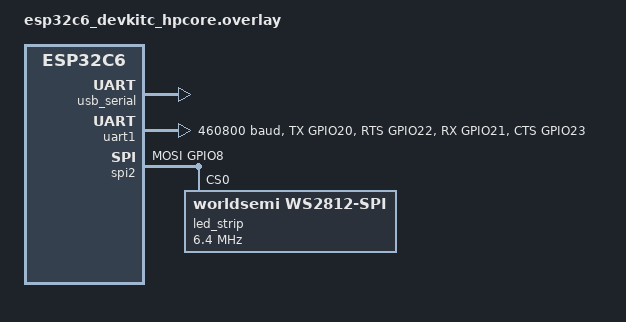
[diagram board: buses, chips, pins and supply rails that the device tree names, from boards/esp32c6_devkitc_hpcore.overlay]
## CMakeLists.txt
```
cmake_minimum_required(VERSION 3.20.0)
# nn-modules location: env (standalone build via nn-app-build) or the
# monorepo sibling (${NN_MODULES_DIR}) fallback so in-tree builds still work.
set(NN_MODULES_DIR "$ENV{NN_MODULES_DIR}")
if(NOT NN_MODULES_DIR)
    set(NN_MODULES_DIR ${CMAKE_CURRENT_SOURCE_DIR}/../../modules)
endif()
find_package(Zephyr REQUIRED HINTS $ENV{ZEPHYR_BASE})
project(ncp_host_esp32c6)

# nn_proto wire-format library (cross-platform, callback-based crypto).
add_subdirectory(${NN_MODULES_DIR}/libs/nn_proto nn_proto_build)

# fw_common — platform-neutral firmware logic (HDLC, Spinel, …) shared
# with the upcoming Linux gateway daemon (host/gw_linux/).
add_subdirectory(${NN_MODULES_DIR}/libs/fw_common fw_common_build)

target_sources(app PRIVATE
    src/main.c
    # hdlc.c + spinel.c moved to modules/libs/fw_common; pulled in via
    # add_subdirectory() above when CONFIG_FW_COMMON=y.
    src/ncp_link.c
    src/ncp_netif.c
    src/nat64.c
    src/border_agent.c
    src/ra_sender.c
    # gw_identity core moved to modules/libs/fw_common/src/gw_identity.c;
    # only the Zephyr shell wrapper stays in the app.
    src/gw_identity_shell.c
    src/proto_tcp.c
    src/proto_udp.c
    src/proto_router.c
    src/gw_commands.c
    # gw_provision + gw_ble_provision moved to modules/libs/fw_common/.
    # Only the Zephyr shell wrapper stays here.
    src/gw_provision_shell.c
    src/gw_ot_apply.c
    src/gw_thread_state.c
    # M6 unified: gateway uses the same hub_crypto X25519 ECIES path
    # as sensors.  hub_crypto.c moved to modules/libs/fw_common/ and is
    # pulled in via the fw_common add_subdirectory() above
    # (CONFIG_FW_COMMON=y in prj.conf).  No direct source reference
    # needed here anymore.
    src/gw_fw_http.c
    src/gw_ota.c
    src/gw_peer_reset.c
    src/ncp_ota_client.c
    src/gw_watchdog.c
)

target_include_directories(app PRIVATE
    src
    ${NN_MODULES_DIR}/libs/node_mgr/include
    ${NN_MODULES_DIR}/libs/fw_common/include
)
```

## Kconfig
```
mainmenu "ESP32-C6 NCP Host"

# Pull in the nn_proto wire-format library + PSA Ed25519/SHA256 selectors.
source "$(NN_MODULES_DIR)/libs/nn_proto/Kconfig"

# fw_common — portable HDLC / Spinel / future shared logic.  Same module
# is consumed by the Linux gateway daemon (host/gw_linux/) via its own
# native CMake build.
source "$(NN_MODULES_DIR)/libs/fw_common/Kconfig"

# M6: PSA selectors for ECIES decrypt of BLE provisioning writes.
# Uses X25519 (Montgomery curve) for encryption.  P-256 (SECP_R1_256)
# stays for nn_proto signatures (deterministic ECDSA — see
# nn_proto/Kconfig).  PSA_WANT_* are invisible at prj.conf level
# (MBEDTLS_PROMPTLESS=y), so they must be selected from Kconfig.
config GW_BLE_CRYPTO_DEPS
	bool
	default y
	select PSA_WANT_ALG_ECDH
	select PSA_WANT_ALG_HKDF
	select PSA_WANT_ALG_GCM
	select PSA_WANT_ALG_SHA_256
	# X25519 (encryption)
	select PSA_WANT_ECC_MONTGOMERY_255
	# P-256 (signatures)
	select PSA_WANT_ECC_SECP_R1_256
	select PSA_WANT_KEY_TYPE_AES
	select PSA_WANT_KEY_TYPE_DERIVE
	select PSA_WANT_KEY_TYPE_ECC_KEY_PAIR_DERIVE
	select PSA_WANT_KEY_TYPE_ECC_KEY_PAIR_IMPORT
	select PSA_WANT_KEY_TYPE_ECC_PUBLIC_KEY

source "Kconfig.zephyr"

config NCP_NETIF_LOG_RX_OFFMESH
	bool "Print every off-mesh STREAM_NET packet entering the host"
	default n
	help
	  Diagnostic.  Logs proto/src-tail/dst-tail/UDP-ports for each
	  off-mesh IPv6 packet arriving from the NCP via Spinel
	  STREAM_NET.  Filters out MLE (port 19788) and anycast (61631)
	  intra-mesh chatter.

config NCP_LINK_LOG_UDP_FORWARD
	bool "Print SPINEL_PROP_THREAD_UDP_FORWARD_STREAM events"
	default n
	help
	  Diagnostic.  Logs both directions of UDP_FORWARD traffic
	  (commissioner path).

config BORDER_AGENT_LOG_RX
	bool "Print every UDP packet arriving on the BA listener (49191)"
	default n
	help
	  Diagnostic.  Used during external commissioner DTLS handshake
	  troubleshooting.

# ── nn_proto TCP broker ─────────────────────────────────────────────────────

menu "nn_proto broker (hub TCP transport)"

config NN_PROTO_HUB_HOSTNAME
	string "Default hub mDNS hostname"
	default "nn-hub.local"

config NN_PROTO_HUB_PORT
	int "Hub TCP port"
	default 8767

config NN_PROTO_HUB_FW_PORT
	int "Hub HTTP port for OTA firmware downloads"
	default 8770

config NN_PROTO_RECONNECT_INITIAL_MS
	int "Initial reconnect backoff (ms)"
	default 2000

config NN_PROTO_RECONNECT_MAX_MS
	int "Maximum reconnect backoff (ms)"
	default 60000

config NN_PROTO_TX_RING_BYTES
	int "Outbound frame ring-buffer size (bytes)"
	default 8192

config NN_PROTO_RX_BUF_BYTES
	int "Inbound frame assembly buffer (bytes)"
	default 4096

config NN_PROTO_WORKER_STACK_SIZE
	int "TCP worker thread stack size"
	default 4096

config NN_PROTO_UDP_PORT
	int "UDP port for D2G/G2D on Thread mesh"
	default 49190

config NN_PROTO_ROUTER_TABLE_SIZE
	int "Routing-table size (device_id → mesh-local IPv6)"
	default 16

config NN_PROTO_HELLO_INTERVAL_S
	int "Gateway HELLO multicast interval (seconds)"
	default 30

endmenu

# ── Bundle pairing ────────────────────────────────────────────────────────

config NN_BUNDLED_NCP_VERSION
	string "Expected NCP firmware version (bundle pairing)"
	default "0.0.0"
	help
	  When non-default, the host's deferred-confirm worker queries
	  the running NCP's CONFIG_NN_NCP_APP_VERSION via Spinel vendor
	  property 0x3C03 and pushes the bundled NCP image (type
	  "ncp_c6", version = this string) if they don't match — BEFORE
	  calling boot_write_img_confirmed on itself.  This makes the
	  host+NCP bundle atomic: if the NCP push fails, the host stays
	  unconfirmed and the next reboot reverts the host too.

	  Default "0.0.0" disables bundle pairing (the host self-confirms
	  on uptime+TCP gates alone, and never auto-pushes to the NCP).

config NN_BUNDLED_NCP_TYPE
	string "Hub firmware target name for the paired NCP image"
	default "ncp_c6"
	help
	  Used as the <device_type> argument to gwota_ncp / the auto
	  reconciliation loop.  Must match what was uploaded via
	  `nn-hub firmware upload <device_type> <version> <file>`.

config NN_BUNDLE_RECONCILE_MAX_ATTEMPTS
	int "Max NCP push attempts during bundle reconciliation"
	default 3
	help
	  After this many consecutive failed pushes, the host stops
	  retrying and stays unconfirmed.  The next reboot will revert
	  the host to slot0, which keeps the bundle consistent with the
	  old NCP.
```

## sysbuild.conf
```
SB_CONFIG_BOOTLOADER_MCUBOOT=y
SB_CONFIG_MCUBOOT_MODE_SWAP_SCRATCH=y
```

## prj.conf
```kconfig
# ESP32-C6 NCP Host — Milestone A
#
# Minimal config: shell on USB-JTAG, UART1 driver for Spinel link to NCP,
# no OpenThread (custom NCP client replaces CONFIG_NET_L2_OPENTHREAD).
# WiFi enable comes in Milestone C.

# Shell / Console
CONFIG_SHELL=y
CONFIG_SHELL_STACK_SIZE=4096
CONFIG_SHELL_PROMPT_UART="ncphost:~$ "
# Shell is kept for SHELL_CMD registration (many code paths use it),
# but the serial backend is disabled so stray bytes from pyserial
# churn can't trigger the shell_start / common_beginning_find crashes
# documented in feedback_zephyr_shell_tab_crash.md.  The host now
# does its bring-up autonomously from main() — no interactive shell
# needed.  Re-enable for development if you need CLI access.
CONFIG_SHELL_BACKEND_SERIAL=y
CONFIG_SHELL_TAB=n
# Long `provision set ...` lines (130-char hub_pubkey hex) overflow the
# default 64-byte RX ring; bump both the ring and the line buffer.
CONFIG_SHELL_BACKEND_SERIAL_RX_RING_BUFFER_SIZE=1024
CONFIG_SHELL_CMD_BUFF_SIZE=512
CONFIG_GPIO=y
CONFIG_SERIAL=y
CONFIG_UART_CONSOLE=y
CONFIG_UART_INTERRUPT_DRIVEN=y
CONFIG_EARLY_CONSOLE=y
CONFIG_LOG=y
CONFIG_LOG_MAX_LEVEL=4
# LOG_MODE_IMMEDIATE blocks the calling thread on UART for every log
# line.  With BLE active, that synchronous write starves the LL of
# CPU and triggers supervision timeout (reason 0x08) during the M6
# ECIES decrypt window.  Deferred mode hands log rendering to a
# dedicated thread so the BT stack stays responsive.
CONFIG_LOG_MODE_DEFERRED=y
CONFIG_LOG_BACKEND_UART=y
CONFIG_PRINTK=y
CONFIG_BOOT_BANNER=y

# RNG for WPA2
CONFIG_TEST_RANDOM_GENERATOR=y
CONFIG_ENTROPY_GENERATOR=y

# Zephyr networking — Thread-over-Spinel iface (DUMMY_L2) and WiFi STA.
CONFIG_NETWORKING=y
CONFIG_NET_IPV6=y
CONFIG_NET_IPV4=y
CONFIG_NET_DHCPV4=y
CONFIG_NET_UDP=y
CONFIG_NET_TCP=y
CONFIG_NET_SOCKETS=y
CONFIG_NET_SOCKETS_INET_RAW=y
CONFIG_NET_ICMPV4_ACCEPT_BROADCAST=y
CONFIG_NET_L2_DUMMY=y
CONFIG_NET_L2_ETHERNET=y
CONFIG_NET_MGMT=y
CONFIG_NET_MGMT_EVENT=y
CONFIG_NET_MGMT_EVENT_INFO=y

# === WiFi (ESP32-C6 built-in, for IPv4 egress + NAT64) ===
CONFIG_WIFI=y
CONFIG_NET_L2_WIFI_SHELL=y
CONFIG_ESP32_WIFI_STA_AUTO_DHCPV4=y
# Driver-level reconnect: when the AP drops us (signal, deauth, lease loss),
# the ESP32 WiFi driver re-issues esp_wifi_connect() in the disconnect path
# instead of going DISCONNECTED-forever.  Without this, our one-shot
# auto_wifi_connect() at boot never re-fires and the gateway is stranded.
CONFIG_ESP32_WIFI_STA_RECONNECT=y
# Bump the umbrella WIFI log level to DEBUG temporarily so disconnect
# reasons (logged via LOG_DBG inside esp_wifi_handle_sta_disconnect_event)
# show up in the boot log.  Useful while diagnosing AP-association
# flakiness; lower to INF once the WiFi stack is stable.
CONFIG_WIFI_LOG_LEVEL_DBG=y
CONFIG_DNS_RESOLVER=y

# mDNS responder — publishes services on wlan0 for laptops to discover.
CONFIG_NET_HOSTNAME_ENABLE=y
CONFIG_NET_HOSTNAME="nn-br"
CONFIG_DNS_SD=y
CONFIG_MDNS_RESPONDER=y
CONFIG_MDNS_RESPONDER_DNS_SD=y
CONFIG_MDNS_RESPONDER_LOG_LEVEL_INF=y
CONFIG_DNS_SD_LOG_LEVEL_INF=y
CONFIG_NET_IPV4_IGMP=y
CONFIG_ZVFS_POLL_MAX=16

# Buffers for STREAM_NET packets (MTU 1280).
# Host is middleman for ALL Thread traffic — bump up vs sensor since
# MLE, data, and NAT64 traffic all flow through ncp_netif_rx_stream_net
# and each needs a net_pkt from the pool.  With 8/8 the pool was
# exhausted during OTA download ("rx drop: pkt alloc failed").
#
# 2026-05-03: TX side bumped 16/32 → 32/64 to keep STREAM_NET sends
# (Thread mesh traffic forwarded to NCP via Spinel) from being starved
# by HTTP TCP ACK/window-update bursts during NCP OTA downloads.
# Symptom of starvation: ncp_ota_relay block timeouts (rv=-116) +
# `esp32_wifi: Failed to allocate net buffer` + STREAM_NET tx drops.
CONFIG_NET_PKT_RX_COUNT=48
CONFIG_NET_PKT_TX_COUNT=48
CONFIG_NET_BUF_RX_COUNT=96
CONFIG_NET_BUF_TX_COUNT=96
CONFIG_NET_BUF_DATA_SIZE=256

# Network shell for `net iface`, `net route`, etc.
CONFIG_NET_SHELL=y
CONFIG_NET_ROUTING=y
CONFIG_NET_IPV6_NBR_CACHE=y
# NET_MAX_ROUTES + NET_MAX_NEXTHOPS removed for UART-silence bisect.
# Both were added in 2026-04-26 BR-routing work; reintroduce later.
CONFIG_NET_MAX_CONTEXTS=32
# Default NET_MAX_CONN=8 is exhausted by mDNS (×4: v4+v6 on wlan0+dummy0)
# + BorderAgent UDP + NAT64 + proto_udp.  Bump it so TCP connect() can
# allocate its conn handler.  Symptom of running out: socket calls fail
# immediately with errno=2 (ENOENT).
CONFIG_NET_MAX_CONN=24

# Room for mirroring multiple NCP IPv6 addresses/prefixes on the Thread iface.
CONFIG_NET_IF_UNICAST_IPV6_ADDR_COUNT=8
CONFIG_NET_IF_MCAST_IPV6_ADDR_COUNT=6
CONFIG_NET_IF_IPV6_PREFIX_COUNT=4
# Need ≥2 IPv6 contexts: one for wlan0, one for the Thread-over-Spinel iface.
# Default 1 leaves the Thread iface with "IPv6 not enabled" and all
# net_if_ipv6_addr_add calls fail.
CONFIG_NET_IF_MAX_IPV6_COUNT=2
CONFIG_NET_IF_MAX_IPV4_COUNT=2

# Stack sizes
CONFIG_MAIN_STACK_SIZE=5200
CONFIG_SYSTEM_WORKQUEUE_STACK_SIZE=4096
CONFIG_NET_TX_STACK_SIZE=2048
CONFIG_NET_RX_STACK_SIZE=2048
CONFIG_NET_MGMT_EVENT_STACK_SIZE=4096
CONFIG_NET_MGMT_EVENT_QUEUE_SIZE=16
CONFIG_NET_MGMT_EVENT_QUEUE_TIMEOUT=5000

# Flash / NVS (WiFi credentials, settings)
CONFIG_FLASH=y
CONFIG_FLASH_MAP=y
CONFIG_NVS=y
CONFIG_SETTINGS=y
CONFIG_SETTINGS_NVS=y

# `provision set ...` ends with sys_reboot() to apply cleanly.
CONFIG_REBOOT=y

# Gateway OTA: MCUboot image manager + stream flash for HTTP downloads.
CONFIG_BOOTLOADER_MCUBOOT=y
CONFIG_IMG_MANAGER=y
CONFIG_STREAM_FLASH=y
CONFIG_STREAM_FLASH_ERASE=y
CONFIG_IMG_BLOCK_BUF_SIZE=1024
CONFIG_MCUBOOT_IMG_MANAGER=y

# Task watchdog: forces a reset if the new image deadlocks long enough
# for MCUboot to revert to slot0.  Heartbeat thread feeds the channel.
# DISABLED — both task_wdt_init(NULL) and task_wdt_init(wdt0) boot-loop
# on this Zephyr+espressif build (chip resets before reaching the
# Zephyr banner), even though the underlying wdt_esp32 driver passes
# samples/drivers/watchdog cleanly.  The bug is in the task_wdt
# framework integration, not the peripheral.  Code in gw_watchdog.c
# is scaffolded with HW-backed init ready (DEVICE_DT_GET(wdt0)) for
# when the framework issue is diagnosed.  Set both =y to enable.
# CONFIG_WATCHDOG=y
# CONFIG_TASK_WDT=y

# === nn_proto gateway identity (Ed25519) ===
# PSA Ed25519 + SHA-256 selectors are pulled in by NN_PROTO_KEYSTORE_DEPS
# (modules/libs/nn_proto/Kconfig).  mbedTLS itself is enabled by other
# parts of the stack already; only the heap size is tuned here.
# M6 ECIES decrypt is heap-hungry (mbedTLS bignum for X25519 ECDH).
# 32 KB has headroom for ECDH + HKDF + AES-GCM.
CONFIG_MBEDTLS_HEAP_SIZE=32768

# hub_crypto serialises ECIES envelopes as JSON with base64 payloads,
# matching the on-device path used by sensors.
CONFIG_BASE64=y
CONFIG_JSON_LIBRARY=y

# Bumped heap for WiFi / wpa_supplicant + M6 ECIES PSA crypto path.
CONFIG_HEAP_MEM_POOL_SIZE=65536

# === BLE (M1 — provisioning bring-up) ===
# Peripheral-only.  Hub-side CLI is the central; the gateway never
# connects out.  Brought up by gw_ble_provision_start() if the gateway
# is not provisioned (first-boot flow).  See plan at
# /home/chalos/.claude/plans/gateway-ble-provisioning.md
CONFIG_BT=y
CONFIG_BT_PERIPHERAL=y
# Needed so the peripheral can call bt_gatt_exchange_mtu() on connect.
# BlueZ central does NOT auto-do ATT MTU exchange — without this the
# ATT MTU stays at the spec default 23, forcing every M6 ECIES write
# (110-170 B) into Write Long which the prepare-buffers fail.
CONFIG_BT_GATT_CLIENT=y
CONFIG_BT_DEVICE_NAME="nn-gw"
CONFIG_BT_DEVICE_NAME_DYNAMIC=y
CONFIG_BT_DEVICE_NAME_MAX=16
CONFIG_BT_MAX_CONN=1
CONFIG_BT_L2CAP_TX_MTU=260
CONFIG_BT_BUF_ACL_RX_SIZE=264
CONFIG_BT_BUF_ACL_TX_SIZE=264
# M6: ECIES envelope writes can be up to ~190B; if BlueZ on the central
# falls back to Write Long (prepare/execute) we need enough prepare
# slots to accept the fragments.  16 covers our biggest envelope at
# default ATT MTU (23).
CONFIG_BT_ATT_PREPARE_COUNT=16
# PSA ECDH+HKDF+AES-GCM in the GATT write callback eats stack; bump
# to 16 KB so a M6 ECIES decrypt from the BT RX thread (P-256 ECDH on
# a real peer-supplied curve point) doesn't overflow.  ECDH alone uses
# >4 KB of stack on this mbedTLS build.
CONFIG_BT_RX_STACK_SIZE=16384
CONFIG_BT_LONG_WQ_STACK_SIZE=8192
CONFIG_BT_SETTINGS=n
CONFIG_BT_LOG_LEVEL_INF=y
CONFIG_BT_HCI_DRIVER_LOG_LEVEL_WRN=y

# === M6: application-layer ECIES on provisioning writes ===
# Instead of relying on BLE link-layer encryption (Just Works pairing
# could not be made to work reliably with BlueZ across all the
# bondable/SC/IO-capability permutations — see
# feedback_zephyr_smp_sc_only_just_works.md), we encrypt the
# provisioning payloads at the application layer using ECIES with
# the gateway's P-256 keypair.
#
# Wire format per encrypted GATT char:
#   [65B eph P-256 pub][12B nonce][N+16B AES-GCM-256 ciphertext+tag]
#   AAD = eph_pub.  Shared key = HKDF-SHA256(
#     ECDH(eph_priv, gw_static_pub) , salt=eph_pub,
#     info="nn-gw-prov-v1", L=32).
# The hub reads the gateway's P-256 pub from GW_INFO (plaintext, OK —
# it's a public key) and uses it to encrypt each write.
#
# SMP/pairing config kept off: link is unencrypted but every byte the
# operator cares about (WiFi PSK, hub privkey-derived hub_id, hub pub)
# travels inside a fresh AES-GCM envelope.  COMMIT and GW_INFO stay
# plaintext (no secrets there).

# Call-trace on fatal exception.
CONFIG_EXCEPTION_STACK_TRACE=y
CONFIG_THREAD_STACK_INFO=y
CONFIG_EXTRA_EXCEPTION_INFO=y

# We are NOT bringing in Zephyr's OpenThread stack on this host; all OT
# logic lives on the paired NCP chip.  The Spinel client is implemented
# from scratch in src/ (hdlc.c, spinel.c, ncp_link.c).
#
# Explicit negatives (defensive — these would conflict with our driver):
# CONFIG_NET_L2_OPENTHREAD is not set
# CONFIG_HDLC_RCP_IF is not set
# CONFIG_IEEE802154 is not set

# On-board WS2812 RGB LED (GPIO 8) for visual chip identification.
# Host firmware turns it RED on boot; NCP firmware turns it GREEN.
CONFIG_SPI=y
CONFIG_LED_STRIP=y
CONFIG_WS2812_STRIP_SPI=y
CONFIG_FW_COMMON=y
CONFIG_NN_PAL=y
```

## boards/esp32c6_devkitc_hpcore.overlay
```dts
/*
 * DTS overlay for ESP32-C6 NCP Host.
 *
 * Console + shell on USB-JTAG.
 * UART1 carries the Spinel/HDLC link to the paired NCP chip at 460800
 * with hardware flow control.
 *
 * Wiring (cross-connect to NCP; both sides use GPIO 20–23):
 *   Host GPIO20 (UART1 TX)  -> NCP GPIO21 (UART1 RX)
 *   Host GPIO21 (UART1 RX)  <- NCP GPIO20 (UART1 TX)
 *   Host GPIO22 (UART1 RTS) -> NCP GPIO23 (UART1 CTS)
 *   Host GPIO23 (UART1 CTS) <- NCP GPIO22 (UART1 RTS)
 *   GND                     -- GND
 *
 * Pins were 4/5/6/7 originally; moved to 20–23 to bypass flaky USB
 * behaviour observed on the GPIO 4–7 wiring during 2026-04-29 OTA
 * bring-up.  Same UART1 peripheral, just different pinmux.
 */

#include <zephyr/dt-bindings/pinctrl/esp-pinctrl-common.h>
#include <zephyr/dt-bindings/pinctrl/esp32c6-pinctrl.h>
#include <zephyr/dt-bindings/led/led.h>

&pinctrl {
	uart1_default: uart1_default {
		group1 {
			pinmux = <UART1_TX_GPIO20>,
				 <UART1_RTS_GPIO22>;
			output-high;
		};

		group2 {
			pinmux = <UART1_RX_GPIO21>,
				 <UART1_CTS_GPIO23>;
			bias-pull-up;
		};
	};

	spim2_default: spim2_default {
		group2 {
			/* SPI2 MOSI on GPIO 8 — drives the on-board WS2812
			 * RGB LED used for visual chip identification.
			 * No CLK / CS — we send WS2812 frames as raw MOSI
			 * bytes; SCK pin is left unmapped. */
			pinmux = <SPIM2_MOSI_GPIO8>;
		};
	};
};

/ {
	chosen {
		/* Console + shell on UART0/CH343 — native USB-Serial-JTAG
		 * endpoints have been unreliable on this dev kit; CH343
		 * with DTR=1 is the dependable path. */
		zephyr,console = &uart0;
		zephyr,shell-uart = &uart0;
		/* UART1 is driven directly by src/ncp_link.c — no Zephyr
		 * OT/HDLC binding; we handle HDLC + Spinel ourselves. */
	};

	aliases {
		ncp-uart = &uart1;
	};
};

&usb_serial {
	status = "okay";
};

&uart1 {
	status = "okay";
	current-speed = <460800>;
	hw-flow-control;
	pinctrl-0 = <&uart1_default>;
	pinctrl-names = "default";
};

&spi2 {
	status = "okay";
	pinctrl-0 = <&spim2_default>;
	pinctrl-names = "default";
	#address-cells = <1>;
	#size-cells = <0>;
	/* WS2812 wants the data line to idle low between frames. */
	line-idle-low;

	led_strip: ws2812@0 {
		compatible = "worldsemi,ws2812-spi";
		reg = <0>;
		spi-max-frequency = <6400000>;
		chain-length = <1>;
		spi-cpha;
		/* 11110000: 625 ns high + 625 ns low (logic 1) */
		spi-one-frame  = <0xf0>;
		/* 11000000: 312.5 ns high + 937.5 ns low (logic 0) */
		spi-zero-frame = <0xc0>;
		color-mapping = <LED_COLOR_ID_GREEN
				 LED_COLOR_ID_RED
				 LED_COLOR_ID_BLUE>;
	};
};

/ {
	aliases {
		led-strip = &led_strip;
	};
};
```

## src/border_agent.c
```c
/* SPDX-License-Identifier: Apache-2.0 */

#include "border_agent.h"
#include "ncp_link.h"
#include "ncp_netif.h"
#include "spinel.h"

#include <errno.h>
#include <stdint.h>
#include <string.h>

#include <zephyr/net/socket.h>
#include <zephyr/net/net_if.h>

#include <nn_osal/osal.h>

NN_OSAL_LOG_MODULE(border_agent);

/* IPv4-mapped IPv6 prefix: ::ffff:0:0/96 */
static const uint8_t v4mapped_prefix[12] = {
	0,0,0,0, 0,0,0,0, 0,0,0xff,0xff,
};

/* NAT64 well-known prefix used for IPv4-as-IPv6 source address when
 * tunneling commissioner traffic via STREAM_NET. */
static const uint8_t nat64_prefix[12] = {
	0x00,0x64, 0xff,0x9b, 0,0,0,0, 0,0,0,0,
};

/* IP6 next-header for UDP. */
#define IPPROTO_UDP_ 17

/* Active commissioner session table. */
struct comm_session_decl {
	bool     in_use;
	uint8_t  v4[4];
	uint16_t port;
	int64_t  last_seen;
};
#define COMM_SESSION_MAX 8
static struct comm_session_decl comm_sessions[COMM_SESSION_MAX];
static struct k_mutex            comm_sessions_lock;

/* BR socket + stats. */
static int                       udp_sock = -1;
static struct k_mutex            stats_lock;
static struct border_agent_stats stats;

/* Internet checksum over a buffer with running accumulator. */
static uint16_t bba_csum16(const uint8_t *buf, size_t len, uint32_t acc)
{
	for (size_t i = 0; i + 1 < len; i += 2) {
		acc += ((uint16_t)buf[i] << 8) | buf[i + 1];
	}
	if (len & 1) {
		acc += (uint16_t)buf[len - 1] << 8;
	}
	while (acc >> 16) {
		acc = (acc & 0xffff) + (acc >> 16);
	}
	return (uint16_t)~acc;
}

/* Find an NCP mesh-local-EID-shaped IPv6 address mirrored on our iface
 * (ML prefix, but not the RLOC-shaped `:0:00ff:fe00:XXXX` IID).  This
 * is the dst we use for the STREAM_NET commissioner-tunnel: it's a
 * NCP-owned address (so DetermineAction fires aReceive=true), and our
 * patched source-check in ip6.cpp allows the IPv4-mapped commissioner
 * source through when dst is one of our own unicast addresses. */
static int find_ncp_ml_eid(uint8_t out[16])
{
	struct net_if *iface = ncp_netif_get();
	if (!iface || !iface->config.ip.ipv6) return -ENODEV;
	uint8_t ml[20]; size_t mllen = sizeof(ml);
	if (ncp_link_get(SPINEL_PROP_IPV6_ML_PREFIX, ml, &mllen, K_MSEC(500))
	    < 0 || mllen < 16) {
		return -EIO;
	}
	for (int i = 0; i < NET_IF_MAX_IPV6_ADDR; i++) {
		struct net_if_addr *a = &iface->config.ip.ipv6->unicast[i];
		if (!a->is_used) continue;
		const uint8_t *b = a->address.in6_addr.s6_addr;
		if (memcmp(b, ml, 8) != 0) continue;       /* prefix match */
		/* Skip RLOC-shaped addresses (XXXX:0:00ff:fe00:XXXX). */
		if (b[8]==0 && b[9]==0 && b[10]==0 && b[11]==0xff &&
		    b[12]==0xfe && b[13]==0) continue;
		memcpy(out, b, 16);
		return 0;
	}
	return -ENOENT;
}

/* Send a commissioner-originated UDP payload to the NCP's BA via
 * STREAM_NET (a synthesized raw IPv6 packet) instead of UDP_FORWARD.
 *
 * UDP_FORWARD wraps the payload as SPINEL_PROP_THREAD_UDP_FORWARD_STREAM
 * and the OT NCP delivers it through `otUdpForwardReceive`, which marks
 * the resulting MessageInfo with `IsHostInterface=true` and an IPv4-
 * mapped peer address.  In our setup BA receives that packet but never
 * replies (verified empirically — internal commissioner over Thread
 * petitions BA fine, the same ClientHello via UDP_FORWARD silently
 * disappears past `Ip6::Udp::HandlePayload`).
 *
 * The STREAM_NET path bypasses that quirk: NCP receives a normal IPv6
 * datagram, the IP6/UDP demux runs as if the packet had arrived from
 * the radio, and BA's DTLS server sees a "regular" peer.  We use the
 * NAT64 well-known prefix to map the IPv4 commissioner into IPv6 so
 * that BA's reply (which OT will route off-mesh) comes back to host
 * via the existing nat64.c rx path. */
/* Record commissioner (v4, port) in the session table so the inbound
 * demux can find it.  Updates last_seen if already present. */
static void comm_session_touch(const uint8_t v4[4], uint16_t port)
{
	int64_t now = nn_osal_uptime_ms();
	int free_slot = -1;
	int oldest = 0;
	int64_t oldest_ts = INT64_MAX;
	k_mutex_lock(&comm_sessions_lock, K_FOREVER);
	for (int i = 0; i < COMM_SESSION_MAX; i++) {
		struct comm_session_decl *s = &comm_sessions[i];
		if (s->in_use && memcmp(s->v4, v4, 4) == 0 && s->port == port) {
			s->last_seen = now;
			k_mutex_unlock(&comm_sessions_lock);
			return;
		}
		if (!s->in_use && free_slot < 0) free_slot = i;
		if (s->in_use && s->last_seen < oldest_ts) {
			oldest_ts = s->last_seen;
			oldest = i;
		}
	}
	int slot = free_slot >= 0 ? free_slot : oldest;
	struct comm_session_decl *s = &comm_sessions[slot];
	s->in_use = true;
	memcpy(s->v4, v4, 4);
	s->port = port;
	s->last_seen = now;
	k_mutex_unlock(&comm_sessions_lock);
}

bool border_agent_demux_inbound(const uint8_t v4_dst[4], uint16_t udp_dst_port,
				const uint8_t *udp_payload, size_t udp_payload_len)
{
	bool match = false;
	k_mutex_lock(&comm_sessions_lock, K_FOREVER);
	for (int i = 0; i < COMM_SESSION_MAX; i++) {
		struct comm_session_decl *s = &comm_sessions[i];
		if (!s->in_use) continue;
		if (memcmp(s->v4, v4_dst, 4) == 0 && s->port == udp_dst_port) {
			match = true;
			s->last_seen = nn_osal_uptime_ms();
			break;
		}
	}
	k_mutex_unlock(&comm_sessions_lock);
	if (!match) return false;

	if (udp_sock < 0) return true;
	struct net_sockaddr_in to = {
		.sin_family = NET_AF_INET,
		.sin_port   = htons(udp_dst_port),
	};
	memcpy(&to.sin_addr, v4_dst, 4);
	ssize_t sent = zsock_sendto(udp_sock, udp_payload, udp_payload_len, 0,
				    (struct net_sockaddr *)&to, sizeof(to));
	if (sent < 0) {
		NN_LOG_WRN("ba demux sendto: %d", errno);
	}
	k_mutex_lock(&stats_lock, K_FOREVER);
	stats.tx_to_commissioner++;
	k_mutex_unlock(&stats_lock);
	return true;
}

int border_agent_try_stream_net_tx(const uint8_t *payload, size_t payload_len,
				   uint16_t commissioner_port,
				   const uint8_t commissioner_v4[4])
{
	if (payload_len + 40 + 8 + 2 > 1500) return -EMSGSIZE;

	/* Track this session so we can demux the reply back to the
	 * commissioner when NCP's BA replies via STREAM_NET. */
	comm_session_touch(commissioner_v4, commissioner_port);

	uint8_t ml_eid[16];
	int rv = find_ncp_ml_eid(ml_eid);
	if (rv < 0) return rv;

	size_t udp_total = 8 + payload_len;
	size_t pkt_len   = 40 + udp_total;
	uint8_t buf[1500];
	buf[0] = (uint8_t)(pkt_len & 0xff);
	buf[1] = (uint8_t)(pkt_len >> 8);

	uint8_t *ip6 = buf + 2;
	ip6[0] = 0x60;
	ip6[1] = ip6[2] = ip6[3] = 0;
	ip6[4] = (uint8_t)(udp_total >> 8);
	ip6[5] = (uint8_t)(udp_total & 0xff);
	ip6[6] = IPPROTO_UDP_;
	ip6[7] = 64;
	memcpy(ip6 + 8,  nat64_prefix, 12);          /* src = 64:ff9b::comm_v4 */
	memcpy(ip6 + 20, commissioner_v4, 4);
	memcpy(ip6 + 24, ml_eid, 16);                /* dst = NCP ML-EID */

	uint8_t *udp = ip6 + 40;
	udp[0] = (uint8_t)(commissioner_port >> 8);  /* src port (commissioner) */
	udp[1] = (uint8_t)(commissioner_port & 0xff);
	udp[2] = 0xc0;                               /* dst port = 49191 = 0xc027 */
	udp[3] = 0x27;
	udp[4] = (uint8_t)(udp_total >> 8);
	udp[5] = (uint8_t)(udp_total & 0xff);
	udp[6] = udp[7] = 0;                         /* checksum, computed below */
	memcpy(udp + 8, payload, payload_len);

	/* IPv6 UDP checksum with pseudo-header. */
	uint32_t acc = 0;
	for (int i = 0; i < 32; i += 2) {
		acc += ((uint16_t)(ip6 + 8)[i] << 8) | (ip6 + 8)[i + 1];
	}
	acc += udp_total;
	acc += IPPROTO_UDP_;
	uint16_t ccs = bba_csum16(udp, udp_total, acc);
	if (ccs == 0) ccs = 0xffff;
	udp[6] = (ccs >> 8) & 0xff;
	udp[7] = ccs & 0xff;

	uint32_t ls = 0;
	int srv = ncp_link_set_raw(SPINEL_PROP_STREAM_NET, buf, 2 + pkt_len,
				   &ls, K_MSEC(2000));
	if (srv < 0) {
		NN_LOG_WRN("ba stream_net tx rv=%d ls=%u", srv, ls);
	}
	return srv;
}

/* (forward decls are at top of file; this is the actual init.) */

static K_THREAD_STACK_DEFINE(rx_stack, 4096);
static struct k_thread        rx_thread;

/* --- NCP -> commissioner: called from Spinel RX thread via ncp_link. */
static void from_ncp_cb(const uint8_t *payload, size_t len,
			uint16_t remote_port,
			const uint8_t remote_ip6[16],
			uint16_t local_port)
{
	ARG_UNUSED(local_port);
	if (udp_sock < 0) {
		k_mutex_lock(&stats_lock, K_FOREVER); stats.drops++;
		k_mutex_unlock(&stats_lock);
		return;
	}

	k_mutex_lock(&stats_lock, K_FOREVER);
	stats.rx_from_ncp++;
	k_mutex_unlock(&stats_lock);

	/* remote_ip6 is the commissioner address.  For IPv4 peers it's
	 * wrapped as ::ffff:a.b.c.d — unpack. */
	struct net_sockaddr_storage to;
	socklen_t tolen;
	if (memcmp(remote_ip6, v4mapped_prefix, 12) == 0) {
		struct net_sockaddr_in *v4 = (struct net_sockaddr_in *)&to;
		v4->sin_family = NET_AF_INET;
		v4->sin_port   = htons(remote_port);
		memcpy(&v4->sin_addr, remote_ip6 + 12, 4);
		tolen = sizeof(*v4);
	} else {
		struct net_sockaddr_in6 *v6 = (struct net_sockaddr_in6 *)&to;
		v6->sin6_family = NET_AF_INET6;
		v6->sin6_port   = htons(remote_port);
		memcpy(&v6->sin6_addr, remote_ip6, 16);
		tolen = sizeof(*v6);
	}

	ssize_t sent = zsock_sendto(udp_sock, payload, len, 0,
				    (struct net_sockaddr *)&to, tolen);
	if (sent < 0) {
		NN_LOG_WRN("sendto commissioner failed: %d", errno);
		k_mutex_lock(&stats_lock, K_FOREVER); stats.drops++;
		k_mutex_unlock(&stats_lock);
		return;
	}
	k_mutex_lock(&stats_lock, K_FOREVER);
	stats.tx_to_commissioner++;
	k_mutex_unlock(&stats_lock);
}

/* --- Commissioner -> NCP: recv loop thread. */
static void rx_thread_fn(void *a, void *b, void *c)
{
	ARG_UNUSED(a); ARG_UNUSED(b); ARG_UNUSED(c);

	while (1) {
		if (udp_sock < 0) {
			/* Lazy open: wait for wlan0 to be up. */
			udp_sock = zsock_socket(NET_AF_INET, NET_SOCK_DGRAM,
						NET_IPPROTO_UDP);
			if (udp_sock < 0) {
				k_sleep(K_SECONDS(1));
				continue;
			}
			struct net_sockaddr_in bind_addr = {
				.sin_family = NET_AF_INET,
				.sin_port   = htons(BORDER_AGENT_PORT),
				.sin_addr   = { .s_addr = 0 },  /* ANY */
			};
			if (zsock_bind(udp_sock,
				       (struct net_sockaddr *)&bind_addr,
				       sizeof(bind_addr)) < 0) {
				NN_LOG_ERR("bind :%d failed: %d",
					BORDER_AGENT_PORT, errno);
				zsock_close(udp_sock);
				udp_sock = -1;
				k_sleep(K_SECONDS(2));
				continue;
			}
			NN_LOG_INF("UDP :%d listener up", BORDER_AGENT_PORT);
		}

		uint8_t buf[1024];
		struct net_sockaddr_storage from;
		socklen_t fromlen = sizeof(from);
		ssize_t n = zsock_recvfrom(udp_sock, buf, sizeof(buf), 0,
					   (struct net_sockaddr *)&from,
					   &fromlen);
		if (n <= 0) {
			if (errno == EAGAIN) continue;
			NN_LOG_WRN("recvfrom: %d", errno);
			nn_osal_sleep_ms(100);
			continue;
		}
		if (IS_ENABLED(CONFIG_BORDER_AGENT_LOG_RX)) {
			printk("ba: rx %zd B from family=%u\n", n,
			       (unsigned)from.ss_family);
		}

		uint16_t remote_port = 0;
		uint8_t  remote_ip6[16] = {0};
		if (from.ss_family == NET_AF_INET) {
			struct net_sockaddr_in *v4 = (void *)&from;
			remote_port = ntohs(v4->sin_port);
			memcpy(remote_ip6, v4mapped_prefix, 12);
			memcpy(remote_ip6 + 12, &v4->sin_addr, 4);
		} else if (from.ss_family == NET_AF_INET6) {
			struct net_sockaddr_in6 *v6 = (void *)&from;
			remote_port = ntohs(v6->sin6_port);
			memcpy(remote_ip6, &v6->sin6_addr, 16);
		} else {
			continue;
		}

		k_mutex_lock(&stats_lock, K_FOREVER);
		stats.rx_from_commissioner++;
		k_mutex_unlock(&stats_lock);

		/* DIAG: send the same packet via STREAM_NET as a synthesized
		 * IPv6 UDP datagram so we can observe whether NCP's BA replies
		 * via that path (UDP_FORWARD path silently drops). */
		if (memcmp(remote_ip6, v4mapped_prefix, 12) == 0) {
			int srv = border_agent_try_stream_net_tx(
				buf, (size_t)n, remote_port, remote_ip6 + 12);
			if (srv == 0) {
				printk("ba: stream_net tx OK\n");
			}
		}

		int rv = ncp_link_udp_forward_tx(buf, (size_t)n,
						 remote_port, remote_ip6,
						 BORDER_AGENT_PORT);
		if (rv < 0) {
			NN_LOG_WRN("udp_forward_tx rv=%d", rv);
			k_mutex_lock(&stats_lock, K_FOREVER);
			stats.drops++;
			k_mutex_unlock(&stats_lock);
		} else {
			k_mutex_lock(&stats_lock, K_FOREVER);
			stats.tx_to_ncp++;
			k_mutex_unlock(&stats_lock);
		}
	}
}

int border_agent_init(void)
{
	k_mutex_init(&stats_lock);
	k_mutex_init(&comm_sessions_lock);
	ncp_link_set_udp_fwd_cb(from_ncp_cb);
	k_thread_create(&rx_thread, rx_stack, K_THREAD_STACK_SIZEOF(rx_stack),
			rx_thread_fn, NULL, NULL, NULL,
			K_PRIO_COOP(7), 0, K_NO_WAIT);
	k_thread_name_set(&rx_thread, "ba_rx");
	return 0;
}

void border_agent_stats_get(struct border_agent_stats *out)
{
	k_mutex_lock(&stats_lock, K_FOREVER);
	*out = stats;
	k_mutex_unlock(&stats_lock);
}
```

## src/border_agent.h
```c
/* SPDX-License-Identifier: Apache-2.0 */

/*
 * Border Agent UDP forwarder.
 *
 * Listens on UDP :49191 over the WiFi iface and tunnels commissioner
 * traffic to the NCP's OpenThread Border Agent via Spinel
 * UDP_FORWARD_STREAM.  Replies from the NCP come back via the same
 * Spinel property and are sent to the original commissioner peer.
 */

#ifndef BORDER_AGENT_H_
#define BORDER_AGENT_H_

#include <stddef.h>
#include <stdint.h>

#define BORDER_AGENT_PORT 49191

int border_agent_init(void);

/* Diagnostic: wrap the commissioner UDP payload as an IPv6 packet and
 * send it via STREAM_NET (alternate to UDP_FORWARD).  Used to test the
 * theory that OT's BA silently drops UDP_FORWARD-routed ClientHellos. */
int border_agent_try_stream_net_tx(const uint8_t *payload, size_t payload_len,
				   uint16_t commissioner_port,
				   const uint8_t commissioner_v4[4]);

#include <stdbool.h>

/* Inbound STREAM_NET demux for BA replies.  Called from
 * ncp_netif_rx_stream_net before the regular nat64.c path, so a
 * NCP→host reply destined for an active commissioner session goes
 * directly to the BA UDP listener instead of being dropped by
 * nat64.c's session matcher (which has no entry for externally-
 * originated commissioner traffic).  Returns true iff the packet
 * matched a session and was forwarded; caller should suppress further
 * nat64 processing in that case. */
bool border_agent_demux_inbound(const uint8_t v4_dst[4],
				uint16_t udp_dst_port,
				const uint8_t *udp_payload,
				size_t udp_payload_len);

struct border_agent_stats {
	uint32_t rx_from_commissioner;   /* UDP pkts we received on :49191 */
	uint32_t tx_to_ncp;              /* forwarded to NCP via Spinel */
	uint32_t rx_from_ncp;            /* NCP -> us (replies) */
	uint32_t tx_to_commissioner;     /* sent back out via UDP */
	uint32_t drops;
};

void border_agent_stats_get(struct border_agent_stats *out);

#endif /* BORDER_AGENT_H_ */
```

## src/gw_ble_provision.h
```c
/* SPDX-License-Identifier: Apache-2.0 */
#pragma once
/*
 * gw_ble_provision — gateway BLE GATT provisioning service.  Body moved
 * to modules/libs/fw_common/ so it can be shared with the Linux gateway
 * daemon (host/gw_linux/).  This shim keeps the existing
 *   gw_ble_provision_start() / gw_ble_provision_stop()
 * API the app already calls.
 */

#include <fw_common/gw_ble_prov_zephyr.h>

#define gw_ble_provision_start  gw_ble_prov_zephyr_start
#define gw_ble_provision_stop   gw_ble_prov_zephyr_stop
```

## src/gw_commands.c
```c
/* SPDX-License-Identifier: Apache-2.0 */

#include <errno.h>
#include <stdbool.h>
#include <string.h>


#include <nn_osal/osal.h>
#include <nn_proto/nn_proto.h>

#include "gw_identity.h"
#include "gw_commands.h"
#include "gw_provision.h"
#include "gw_thread_state.h"
#include "proto_tcp.h"
#include "proto_udp.h"
#include "proto_router.h"

NN_OSAL_LOG_MODULE(gw_commands);

#define UDP_PORT          CONFIG_NN_PROTO_UDP_PORT
#define HELLO_INTERVAL_S  CONFIG_NN_PROTO_HELLO_INTERVAL_S

/* HELLO args layout (matches docs/protocol/nn_proto.md):
 *   16 B  gateway mesh-local IPv6
 *    2 B  advertise interval (seconds, LE)
 *    1 B  hub-online flag (0 = down, 1 = up)
 */
#define HELLO_ARGS_LEN    (16 + 2 + 1)

/* HUB_STATUS_ANNOUNCE args: 1 B online flag. */
#define HUBSTAT_ARGS_LEN  1

static struct {
	struct k_work_delayable hello_work;
	struct in6_addr         mesh_local;
	bool                    hub_online;
} G;

/* ── frame helpers ─────────────────────────────────────────────────────── */

/* Build (sign + return frame size in *out_len) a G2D frame.
 * device_id may be NULL for multicast. */
static int build_g2d(uint16_t cmd, const uint8_t *args, size_t args_len,
		     const uint8_t *device_id, uint16_t did_size,
		     uint8_t *out_buf, size_t out_buf_size,
		     size_t *out_len)
{
	uint8_t inner[2 + HELLO_ARGS_LEN];
	if (2 + args_len > sizeof(inner)) {
		return -EINVAL;
	}
	nn_osal_put_le16(cmd, inner);
	if (args_len) {
		memcpy(inner + 2, args, args_len);
	}
	int n = nn_proto_encode(NN_PROTO_TYPE_G2D,
				device_id, did_size,
				inner, 2 + args_len,
				gw_identity_sign, NULL,
				out_buf, out_buf_size);
	if (n <= 0) {
		return n;
	}
	*out_len = (size_t)n;
	return 0;
}

/* ── HELLO (multicast) ─────────────────────────────────────────────────── */

static void send_hello(void)
{
	uint8_t args[HELLO_ARGS_LEN];
	memcpy(args, &G.mesh_local, 16);
	nn_osal_put_le16((uint16_t)HELLO_INTERVAL_S, args + 16);
	args[18] = G.hub_online ? 1 : 0;

	uint8_t  frame[NN_PROTO_OVERHEAD + HELLO_ARGS_LEN + 2];
	size_t   flen = 0;
	int rv = build_g2d(NN_PROTO_CMD_GATEWAY_HELLO, args, sizeof(args),
			   NULL, 0,
			   frame, sizeof(frame), &flen);
	if (rv < 0) {
		NN_LOG_WRN("HELLO build rv=%d", rv);
		return;
	}
	rv = proto_udp_send_mcast(frame, flen);
	if (rv < 0) {
		NN_LOG_WRN("HELLO send rv=%d", rv);
	} else {
		NN_LOG_DBG("HELLO mcast sent (online=%d, %zu B)",
			G.hub_online, flen);
	}
}

static void hello_timer(struct k_work *w)
{
	ARG_UNUSED(w);
	send_hello();
	k_work_reschedule(&G.hello_work, K_SECONDS(HELLO_INTERVAL_S));
}

/* ── HUB_STATUS_ANNOUNCE (mcast on flip) ──────────────────────────────── */

static void send_hub_status_announce(void)
{
	uint8_t  args[HUBSTAT_ARGS_LEN] = { G.hub_online ? 1 : 0 };
	uint8_t  frame[NN_PROTO_OVERHEAD + HUBSTAT_ARGS_LEN + 2];
	size_t   flen = 0;
	int rv = build_g2d(NN_PROTO_CMD_HUB_STATUS_ANNOUNCE,
			   args, sizeof(args),
			   NULL, 0,
			   frame, sizeof(frame), &flen);
	if (rv < 0) {
		NN_LOG_WRN("HUB_STATUS_ANNOUNCE build rv=%d", rv);
		return;
	}
	(void)proto_udp_send_mcast(frame, flen);
	NN_LOG_INF("HUB_STATUS_ANNOUNCE sent: online=%d", G.hub_online);
}

/* Send a D2G HUB_STATUS_QUERY to the hub via TCP.  Doubles as the
 * gateway's first frame after connect — the hub uses it to look up
 * the gateway in its DB and verify the outer signature. */
static void send_register_to_hub(void)
{
	const uint8_t *gw_id = gw_identity_get_id();
	if (!gw_id) {
		return;
	}
	uint8_t inner[2];
	nn_osal_put_le16(NN_PROTO_CMD_HUB_STATUS_QUERY, inner);

	uint8_t frame[NN_PROTO_OVERHEAD + GW_IDENTITY_ID_LEN + sizeof(inner)];
	int n = nn_proto_encode(NN_PROTO_TYPE_D2G,
				gw_id, GW_IDENTITY_ID_LEN,
				inner, sizeof(inner),
				gw_identity_sign, NULL,
				frame, sizeof(frame));
	if (n <= 0) {
		NN_LOG_WRN("register: encode rv=%d", n);
		return;
	}
	int rv = proto_tcp_enqueue(frame, (size_t)n);
	if (rv < 0) {
		NN_LOG_WRN("register: enqueue rv=%d", rv);
	} else {
		NN_LOG_INF("register frame enqueued (%d B) — hub will auth on receipt",
			n);
	}
}

void gw_commands_set_hub_online(bool online)
{
	if (G.hub_online == online) return;
	G.hub_online = online;
	send_hub_status_announce();
	if (online) {
		/* TCP just came up — introduce ourselves to the hub so it
		 * can authenticate us by our device_id + sig. */
		send_register_to_hub();
		/* Publish current Thread role/rloc16/mleid so the hub knows
		 * which gateway just came online and where we sit in the
		 * mesh.  Subsequent sends are driven by the periodic timer. */
		gw_thread_state_kick();
	}
}

void gw_commands_set_mesh_local(const struct in6_addr *addr)
{
	if (!addr) return;
	memcpy(&G.mesh_local, addr, sizeof(*addr));
}

/* ── D2G inner-cmd handler (hooked from proto_router) ─────────────────── */

int gw_commands_on_d2g(const struct nn_proto_view *view,
		       const struct in6_addr *src)
{
	if (!view || view->payload_size < 2) {
		return -EINVAL;
	}
	uint16_t cmd = nn_osal_get_le16(view->payload);
	switch (cmd) {
	case NN_PROTO_CMD_HUB_STATUS_QUERY: {
		/* Reply unicast to the requesting device with the current
		 * online flag.  device_id (= sender's id) is what's already
		 * in the inbound view. */
		uint8_t  args[HUBSTAT_ARGS_LEN] = { G.hub_online ? 1 : 0 };
		uint8_t  frame[NN_PROTO_OVERHEAD + HUBSTAT_ARGS_LEN + 2 +
			       PROTO_ROUTER_DEVICE_ID_MAX];
		size_t   flen = 0;
		int rv = build_g2d(NN_PROTO_CMD_HUB_STATUS_ANNOUNCE,
				   args, sizeof(args),
				   view->device_id, view->device_id_size,
				   frame, sizeof(frame), &flen);
		if (rv < 0) {
			NN_LOG_WRN("HUB_STATUS_QUERY reply build: %d", rv);
			return rv;
		}
		rv = proto_udp_send_unicast(src, UDP_PORT, frame, flen);
		if (rv < 0) {
			NN_LOG_WRN("HUB_STATUS_QUERY reply send: %d", rv);
			return rv;
		}
		return 0;
	}
	default:
		NN_LOG_DBG("unknown D2G cmd 0x%04x", cmd);
		return -ENOSYS;
	}
}

/* ── init ──────────────────────────────────────────────────────────────── */

int gw_commands_init(void)
{
	memset(&G, 0, sizeof(G));
	k_work_init_delayable(&G.hello_work, hello_timer);
	k_work_reschedule(&G.hello_work, K_SECONDS(HELLO_INTERVAL_S));
	NN_LOG_INF("gw_commands ready (HELLO every %d s on UDP/%d)",
		HELLO_INTERVAL_S, UDP_PORT);
	return 0;
}

/* ── broker glue (called from main once WiFi is up) ───────────────────── */

static void on_udp_rx(const uint8_t *buf, size_t len,
		      const struct in6_addr *src, uint16_t port, void *user)
{
	ARG_UNUSED(port); ARG_UNUSED(user);
	(void)proto_router_on_udp_rx(buf, len, src);
}

static void on_tcp_rx(const uint8_t *buf, size_t len, void *user)
{
	ARG_UNUSED(user);
	(void)proto_router_on_tcp_rx(buf, len);
}

/* TCP up/down poller — checks proto_tcp state every second and folds
 * the change into hub_online + emits the announce.  A future
 * enhancement could replace this poller with a state-change callback
 * inside proto_tcp.c. */
static void tcp_state_poll(struct k_work *w);
static K_WORK_DELAYABLE_DEFINE(s_tcp_state_work, tcp_state_poll);
static enum proto_tcp_state s_last_state = PROTO_TCP_DOWN;

static void tcp_state_poll(struct k_work *w)
{
	ARG_UNUSED(w);
	enum proto_tcp_state st = proto_tcp_get_state();
	if (st != s_last_state) {
		s_last_state = st;
		gw_commands_set_hub_online(st == PROTO_TCP_UP);
	}
	k_work_reschedule(&s_tcp_state_work, K_SECONDS(1));
}

void nn_proto_broker_start(void)
{
	(void)proto_router_init();

	static const struct proto_udp_config udp_cfg = {
		.port  = UDP_PORT,
		.on_rx = on_udp_rx,
	};
	(void)proto_udp_init(&udp_cfg);

	const char *hub_mdns = gw_provision_get_hub_mdns();
	static struct proto_tcp_config tcp_cfg;
	tcp_cfg.hub_hostname = hub_mdns ? hub_mdns
					: CONFIG_NN_PROTO_HUB_HOSTNAME;
	tcp_cfg.hub_port     = CONFIG_NN_PROTO_HUB_PORT;
	tcp_cfg.on_rx        = on_tcp_rx;
	(void)proto_tcp_init(&tcp_cfg);

	(void)gw_commands_init();
	gw_thread_state_init();
	k_work_reschedule(&s_tcp_state_work, K_SECONDS(1));
}
```

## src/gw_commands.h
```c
/* SPDX-License-Identifier: Apache-2.0 */
/*
 * gw_commands — gateway-originated and gateway-terminated nn_proto
 * messages (D2G/G2D inner-cmd handlers).
 *
 *   - HELLO mcast emitter: every CONFIG_NN_PROTO_HELLO_INTERVAL_S
 *     seconds the gateway broadcasts GATEWAY_HELLO carrying its
 *     mesh-local IPv6 + advertise interval + current hub-online flag.
 *   - HUB_STATUS_ANNOUNCE on TCP up/down state changes.
 *   - HUB_STATUS_QUERY responder: D2G with cmd=0x0001 → unicast G2D
 *     reply to the requesting device with the current hub flag.
 */

#ifndef GW_COMMANDS_H_
#define GW_COMMANDS_H_

#include <stdbool.h>
#include <stddef.h>
#include <stdint.h>

#include <zephyr/net/net_ip.h>

#ifdef __cplusplus
extern "C" {
#endif

/* Initialize the periodic HELLO timer + register the proto_tcp state
 * change hook.  Call once after gw_identity_init() and proto_udp_init(). */
int gw_commands_init(void);

/* Override / report the gateway's own mesh-local IPv6 (carried in HELLO).
 * Falls back to in6addr_any if never set. */
void gw_commands_set_mesh_local(const struct in6_addr *addr);

/* Driven by proto_tcp state changes (caller should invoke whenever the
 * TCP transport up/down state flips). */
void gw_commands_set_hub_online(bool online);

#ifdef __cplusplus
}
#endif

#endif /* GW_COMMANDS_H_ */
```

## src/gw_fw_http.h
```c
/* SPDX-License-Identifier: Apache-2.0 */
/*
 * gw_fw_http — shared HTTP + manifest + sha256 helpers for both host
 * self-OTA (gw_ota.c) and the NCP relay path (ncp_ota_client.c).
 */

#ifndef GW_FW_HTTP_H_
#define GW_FW_HTTP_H_

#include <stdbool.h>
#include <stddef.h>
#include <stdint.h>

#include <psa/crypto.h>

#ifdef __cplusplus
extern "C" {
#endif

/* Manifest as parsed from /gw_firmware/<type>/<version>/meta. */
struct gw_fw_manifest {
	char    type[24];
	char    version[24];
	long    size;
	uint8_t sha256[32];
	bool    sha256_valid;
};

/* Pull the manifest JSON, parse, and validate that type/version match. */
int gw_fw_fetch_manifest(const char *host, const char *device_type,
			 const char *version, struct gw_fw_manifest *out);

/* Open a TCP connection to <host>:<port>, send GET <uri> HTTP/1.0, parse
 * response status + headers.  On success returns the connected socket
 * fd; *content_length is set; server's X-FW-Sha256 (if present) is
 * copied into out_sha_hex (must be ≥65B).  Caller closes the fd. */
int gw_fw_http_open_get(const char *host, uint16_t port, const char *uri,
			long *content_length, char *out_sha_hex,
			size_t sha_hex_cap);

/* SHA-256 streaming helpers wrapping psa_hash_*. */
int gw_fw_sha256_init(psa_hash_operation_t *op);
int gw_fw_sha256_update(psa_hash_operation_t *op,
			const uint8_t *chunk, size_t len);
int gw_fw_sha256_finish(psa_hash_operation_t *op, uint8_t out[32]);

#ifdef __cplusplus
}
#endif

#endif /* GW_FW_HTTP_H_ */
```

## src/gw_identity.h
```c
/* SPDX-License-Identifier: Apache-2.0 */
#pragma once
/* Moved to modules/libs/fw_common/include/fw_common/gw_identity.h —
 * shim kept so existing `#include "gw_identity.h"` callers compile
 * unchanged. */
#include <fw_common/gw_identity.h>
```

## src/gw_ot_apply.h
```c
/* SPDX-License-Identifier: Apache-2.0 */
/*
 * gw_ot_apply — push a hub-supplied OT operational dataset into the
 * paired NCP via Spinel.  The dataset is the canonical Thread TLV
 * blob (same format `ot dataset active -x` emits and Thread spec
 * §8.10 defines).  The TLV stream is decomposed into individual
 * Spinel SET ops (NET_NETWORK_KEY, NET_XPANID, MAC_15_4_PANID,
 * PHY_CHAN, etc.) so the NCP brings Thread up on the network the
 * hub asked for, rather than whatever it had baked-in or learned
 * from a previous run.
 *
 * Call AFTER ncp_link_init() and BEFORE flipping NET_IF_UP /
 * NET_STACK_UP — order matters.
 */

#ifndef GW_OT_APPLY_H_
#define GW_OT_APPLY_H_

#include <stddef.h>
#include <stdint.h>

#ifdef __cplusplus
extern "C" {
#endif

/* Decompose `tlvs` into Spinel SETs.  Returns 0 on success (every
 * recognised TLV applied without error) or a negative errno on the
 * first failure.  Unknown TLV types are silently skipped (forward
 * compatibility).
 */
int gw_ot_apply_dataset(const uint8_t *tlvs, size_t tlvs_len);

#ifdef __cplusplus
}
#endif

#endif /* GW_OT_APPLY_H_ */
```
